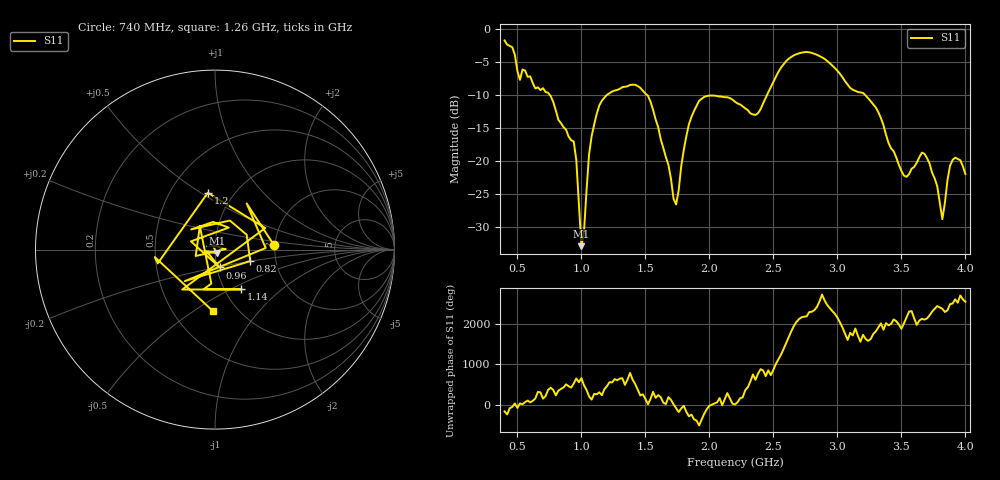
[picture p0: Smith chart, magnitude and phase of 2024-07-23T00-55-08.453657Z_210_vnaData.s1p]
!Created with skrf (http://scikit-rf.org).
# Hz S RI R 50.0
!freq ReS11 ImS11
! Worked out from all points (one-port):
!   181 points, 400 MHz to 4 GHz, reference 50 ohm
!   lowest |S11| = -32.8 dB at 1 GHz (marker M1), VSWR 1.05, Z = 50.9 - j2.12 ohm
!   |S11| at or under -10 dB: 755.3 MHz to 1.196 GHz (440.9 MHz wide, 45.2 % of centre); 1.516 GHz to 2.449 GHz (932.8 MHz wide, 47.1 % of centre); 3.22 GHz to end of sweep
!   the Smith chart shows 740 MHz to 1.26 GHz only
!   S11 on the Smith chart (normalised r, x): 740 MHz: 1.98, +0.10; 820 MHz: 1.47, -0.20; 960 MHz: 1.03, -0.21; 1.14 GHz: 1.19, -0.57; 1.2 GHz: 0.76, +0.54; 1.26 GHz: 0.77, -0.60
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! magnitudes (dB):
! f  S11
! 400 MHz  -1.7
! 520 MHz  -7.7
! 740 MHz  -9.6
! 820 MHz  -13.7
! 860 MHz  -14.8
! 960 MHz  -19.8
! 1 GHz  -32.8
! 1.02 GHz  -30.7
! 1.06 GHz  -18.9
! 1.14 GHz  -11.5
! 1.2 GHz  -9.9
! 1.26 GHz  -9.3
! 1.3 GHz  -9.0
! 1.52 GHz  -10.1
! 1.72 GHz  -25.7
! 1.76 GHz  -24.3
! 1.84 GHz  -14.4
! 1.92 GHz  -10.8
! 2.2 GHz  -11.0
! 2.38 GHz  -12.7
! 2.66 GHz  -3.9
! 3.1 GHz  -8.9
! 3.3 GHz  -11.8
! 3.56 GHz  -21.9
! 3.68 GHz  -18.8
! 3.82 GHz  -28.7
! 3.9 GHz  -19.8
! 4 GHz  -21.9
